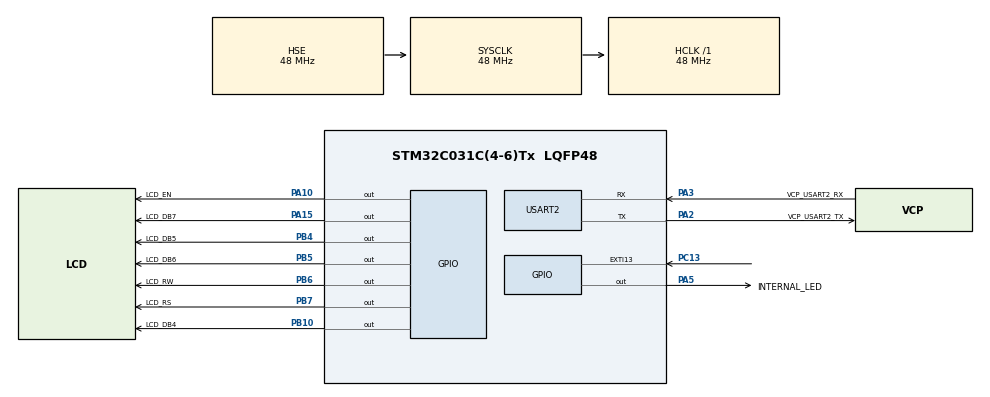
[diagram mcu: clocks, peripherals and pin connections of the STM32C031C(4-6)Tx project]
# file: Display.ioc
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Mcu.Family=STM32C0
Mcu.Name=STM32C031C(4-6)Tx
Mcu.Package=LQFP48
PA10.GPIO_Label=LCD_EN
PA10.GPIO_Speed=GPIO_SPEED_FREQ_HIGH
PA10.Signal=GPIO_Output
PA13.GPIO_Label=DEBUG_SWDIO
PA13.Signal=DEBUG_SWDIO
PA14-BOOT0.GPIO_Label=DEBUG_SWCLK
PA14-BOOT0.Signal=DEBUG_SWCLK
PA15.GPIO_Label=LCD_DB7
PA15.GPIO_Speed=GPIO_SPEED_FREQ_HIGH
PA15.Signal=GPIO_Output
PA2.GPIO_Label=VCP_USART2_TX
PA2.Mode=Asynchronous
PA2.Signal=USART2_TX
PA3.GPIO_Label=VCP_USART2_RX
PA3.Mode=Asynchronous
PA3.Signal=USART2_RX
PA5.GPIO_Label=INTERNAL_LED
PA5.Signal=GPIO_Output
PB10.GPIO_Label=LCD_DB4
PB10.GPIO_Speed=GPIO_SPEED_FREQ_HIGH
PB10.Signal=GPIO_Output
PB4.GPIO_Label=LCD_DB5
PB4.GPIO_Speed=GPIO_SPEED_FREQ_HIGH
PB4.Signal=GPIO_Output
PB5.GPIO_Label=LCD_DB6
PB5.GPIO_Speed=GPIO_SPEED_FREQ_HIGH
PB5.Signal=GPIO_Output
PB6.GPIO_Label=LCD_RW
PB6.GPIO_Speed=GPIO_SPEED_FREQ_HIGH
PB6.Signal=GPIO_Output
PB7.GPIO_Label=LCD_RS
PB7.GPIO_Speed=GPIO_SPEED_FREQ_HIGH
PB7.Signal=GPIO_Output
PC13.Signal=GPXTI13
PC14-OSCX_IN\ (PC14).GPIO_Label=RCC_OSCX_IN
PC14-OSCX_IN\ (PC14).Mode=LSE-External-Oscillator
PC14-OSCX_IN\ (PC14).Signal=RCC_OSCX_IN
PC15-OSCX_OUT\ (PC15).GPIO_Label=RCC_OSCX_OUT
PC15-OSCX_OUT\ (PC15).Mode=LSE-External-Oscillator
PC15-OSCX_OUT\ (PC15).Signal=RCC_OSCX_OUT
PF0-OSC_IN\ (PF0).GPIO_Label=RCC_OSC_IN
PF0-OSC_IN\ (PF0).Mode=HSE-External-Oscillator
PF0-OSC_IN\ (PF0).Signal=RCC_OSC_IN
PF1-OSC_OUT\ (PF1).GPIO_Label=RCC_OSC_OUT
PF1-OSC_OUT\ (PF1).Mode=HSE-External-Oscillator
PF1-OSC_OUT\ (PF1).Signal=RCC_OSC_OUT
ProjectManager.HeapSize=0x200
ProjectManager.StackSize=0x400
ProjectManager.TargetToolchain=STM32CubeIDE
RCC.ADCFreq_Value=48000000
RCC.AHBFreq_Value=48000000
RCC.CortexFreq_Value=48000000
RCC.EXTERNAL_CLOCK_VALUE=12288000
RCC.HCLKFreq_Value=48000000
RCC.HSE_VALUE=48000000
RCC.HSISYSCLKDivider=RCC_HSI_DIV1
RCC.HSI_VALUE=48000000
RCC.SYSCLKFreq_VALUE=48000000
RCC.SYSCLKSource=RCC_SYSCLKSOURCE_HSE
USART2.VirtualMode-Asynchronous=VM_ASYNC
board=NUCLEO-C031C6

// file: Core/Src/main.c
/* USER CODE BEGIN Header */
/**
  ******************************************************************************
  * @file           : main.c
  * @brief          : Main program body
  ******************************************************************************
  */
/* USER CODE END Header */
#include "main.h"
#include "LCD_DRIVER.h"
/* USER CODE BEGIN Includes */
#include <stdio.h>
#include "string.h"
/* USER CODE END Includes */

UART_HandleTypeDef huart2;

/* USER CODE BEGIN PV */
// Variabile semaforo: 1 = il display si aggiorna, 0 = in pausa
volatile uint8_t lcd_running = 1;
/* USER CODE END PV */

void SystemClock_Config(void);
static void MX_GPIO_Init(void);
static void MX_USART2_UART_Init(void);

int main(void)
{

  /* MCU Configuration--------------------------------------------------------*/

  /* Reset of all peripherals, Initializes the Flash interface and the Systick. */
  HAL_Init();

  /* Configure the system clock */
  SystemClock_Config();

  /* Initialize all configured peripherals */
  MX_GPIO_Init();
  MX_USART2_UART_Init();
  /* USER CODE BEGIN 2 */
    LCD_Init();

    // Variabili richieste prima del ciclo while
    uint8_t i = 0;
    char buff[20]; // Aumentato a 20 come nell'immagine per far spazio a \r\n
    /* USER CODE END 2 */

    /* Infinite loop */
    while (1)
    {

      /* USER CODE BEGIN 3 */

      // Se il semaforo è verde (1), aggiorna il display e invia via UART
      if (lcd_running == 1)
      {
          LCD_Send_Byte(0x01, 0); // lcdSendCmd(0x01) -> Pulisce il display

          // Stampa sulla prima riga dell'LCD
          sprintf(buff, "Char %4d -> ", i);
          LCD_Set_Cursor(0, 0);
          LCD_Print(buff);
          LCD_Send_Byte(i, 1);    // Invia il singolo carattere ASCII su LCD

          // Stampa sulla seconda riga dell'LCD (in Esadecimale)
          sprintf(buff, "Char 0x%02X -> %c", i, i);
          LCD_Set_Cursor(1, 0);
          LCD_Print(buff);

          // --- NUOVA PARTE INSERITA DALL'IMMAGINE: INVIO SU PuTTY (UART2) ---
          sprintf(buff, "Char %4d -> %c\r\n", i, i);
          HAL_UART_Transmit(&huart2, (uint8_t*)buff, strlen(buff), 1000);

          sprintf(buff, "Char 0x%02X -> %c\r\n", i, i);
          HAL_UART_Transmit(&huart2, (uint8_t*)buff, strlen(buff), 1000);
          // ------------------------------------------------------------------

          i += 1; // Passa al carattere successivo
      }

      // Aspetta in ogni caso 750ms prima di ripetere il ciclo
      HAL_Delay(750);

    }
    /* USER CODE END 3 */

}

void SystemClock_Config(void)
{
  RCC_OscInitTypeDef RCC_OscInitStruct = {0};
  RCC_ClkInitTypeDef RCC_ClkInitStruct = {0};

  __HAL_FLASH_SET_LATENCY(FLASH_LATENCY_1);

  /** Initializes the RCC Oscillators according to the specified parameters
  * in the RCC_OscInitTypeDef structure.
  */
  RCC_OscInitStruct.OscillatorType = RCC_OSCILLATORTYPE_HSE;
  RCC_OscInitStruct.HSEState = RCC_HSE_ON;
  if (HAL_RCC_OscConfig(&RCC_OscInitStruct) != HAL_OK)
  {
    Error_Handler();
  }

  /** Initializes the CPU, AHB and APB buses clocks
  */
  RCC_ClkInitStruct.ClockType = RCC_CLOCKTYPE_HCLK|RCC_CLOCKTYPE_SYSCLK
                              |RCC_CLOCKTYPE_PCLK1;
  RCC_ClkInitStruct.SYSCLKSource = RCC_SYSCLKSOURCE_HSE;
  RCC_ClkInitStruct.SYSCLKDivider = RCC_SYSCLK_DIV1;
  RCC_ClkInitStruct.AHBCLKDivider = RCC_HCLK_DIV1;
  RCC_ClkInitStruct.APB1CLKDivider = RCC_APB1_DIV1;

  if (HAL_RCC_ClockConfig(&RCC_ClkInitStruct, FLASH_LATENCY_1) != HAL_OK)
  {
    Error_Handler();
  }
}

static void MX_USART2_UART_Init(void)
{

  huart2.Instance = USART2;
  huart2.Init.BaudRate = 115200;
  huart2.Init.WordLength = UART_WORDLENGTH_8B;
  huart2.Init.StopBits = UART_STOPBITS_1;
  huart2.Init.Parity = UART_PARITY_NONE;
  huart2.Init.Mode = UART_MODE_TX_RX;
  huart2.Init.HwFlowCtl = UART_HWCONTROL_NONE;
  huart2.Init.OverSampling = UART_OVERSAMPLING_16;
  huart2.Init.OneBitSampling = UART_ONE_BIT_SAMPLE_DISABLE;
  huart2.Init.ClockPrescaler = UART_PRESCALER_DIV1;
  huart2.AdvancedInit.AdvFeatureInit = UART_ADVFEATURE_NO_INIT;
  if (HAL_UART_Init(&huart2) != HAL_OK)
  {
    Error_Handler();
  }

}

static void MX_GPIO_Init(void)
{
  LL_EXTI_InitTypeDef EXTI_InitStruct = {0};
  LL_GPIO_InitTypeDef GPIO_InitStruct = {0};

  /* GPIO Ports Clock Enable */
  LL_IOP_GRP1_EnableClock(LL_IOP_GRP1_PERIPH_GPIOC);
  LL_IOP_GRP1_EnableClock(LL_IOP_GRP1_PERIPH_GPIOF);
  LL_IOP_GRP1_EnableClock(LL_IOP_GRP1_PERIPH_GPIOA);
  LL_IOP_GRP1_EnableClock(LL_IOP_GRP1_PERIPH_GPIOB);

  /**/
  LL_GPIO_ResetOutputPin(INTERNAL_LED_GPIO_Port, INTERNAL_LED_Pin);

  /**/
  LL_GPIO_ResetOutputPin(LCD_DB4_GPIO_Port, LCD_DB4_Pin);

  /**/
  LL_GPIO_ResetOutputPin(LCD_EN_GPIO_Port, LCD_EN_Pin);

  /**/
  LL_GPIO_ResetOutputPin(LCD_DB7_GPIO_Port, LCD_DB7_Pin);

  /**/
  LL_GPIO_ResetOutputPin(LCD_DB5_GPIO_Port, LCD_DB5_Pin);

  /**/
  LL_GPIO_ResetOutputPin(LCD_DB6_GPIO_Port, LCD_DB6_Pin);

  /**/
  LL_GPIO_ResetOutputPin(LCD_RW_GPIO_Port, LCD_RW_Pin);

  /**/
  LL_GPIO_ResetOutputPin(LCD_RS_GPIO_Port, LCD_RS_Pin);

  /**/
  EXTI_InitStruct.Line_0_31 = LL_EXTI_LINE_13;
  EXTI_InitStruct.LineCommand = ENABLE;
  EXTI_InitStruct.Mode = LL_EXTI_MODE_IT;
  EXTI_InitStruct.Trigger = LL_EXTI_TRIGGER_RISING;
  LL_EXTI_Init(&EXTI_InitStruct);

  /**/
  LL_GPIO_SetPinMode(GPIOC, LL_GPIO_PIN_13, LL_GPIO_MODE_INPUT);

  /**/
  LL_GPIO_SetPinPull(GPIOC, LL_GPIO_PIN_13, LL_GPIO_PULL_NO);

  /**/
  LL_EXTI_SetEXTISource(LL_EXTI_CONFIG_PORTC, LL_EXTI_CONFIG_LINE13);

  /**/
  GPIO_InitStruct.Pin = INTERNAL_LED_Pin;
  GPIO_InitStruct.Mode = LL_GPIO_MODE_OUTPUT;
  GPIO_InitStruct.Speed = LL_GPIO_SPEED_FREQ_LOW;
  GPIO_InitStruct.OutputType = LL_GPIO_OUTPUT_PUSHPULL;
  GPIO_InitStruct.Pull = LL_GPIO_PULL_NO;
  LL_GPIO_Init(INTERNAL_LED_GPIO_Port, &GPIO_InitStruct);

  /**/
  GPIO_InitStruct.Pin = LCD_DB4_Pin;
  GPIO_InitStruct.Mode = LL_GPIO_MODE_OUTPUT;
  GPIO_InitStruct.Speed = LL_GPIO_SPEED_FREQ_HIGH;
  GPIO_InitStruct.OutputType = LL_GPIO_OUTPUT_PUSHPULL;
  GPIO_InitStruct.Pull = LL_GPIO_PULL_NO;
  LL_GPIO_Init(LCD_DB4_GPIO_Port, &GPIO_InitStruct);

  /**/
  GPIO_InitStruct.Pin = LCD_EN_Pin;
  GPIO_InitStruct.Mode = LL_GPIO_MODE_OUTPUT;
  GPIO_InitStruct.Speed = LL_GPIO_SPEED_FREQ_HIGH;
  GPIO_InitStruct.OutputType = LL_GPIO_OUTPUT_PUSHPULL;
  GPIO_InitStruct.Pull = LL_GPIO_PULL_NO;
  LL_GPIO_Init(LCD_EN_GPIO_Port, &GPIO_InitStruct);

  /**/
  GPIO_InitStruct.Pin = LCD_DB7_Pin;
  GPIO_InitStruct.Mode = LL_GPIO_MODE_OUTPUT;
  GPIO_InitStruct.Speed = LL_GPIO_SPEED_FREQ_HIGH;
  GPIO_InitStruct.OutputType = LL_GPIO_OUTPUT_PUSHPULL;
  GPIO_InitStruct.Pull = LL_GPIO_PULL_NO;
  LL_GPIO_Init(LCD_DB7_GPIO_Port, &GPIO_InitStruct);

  /**/
  GPIO_InitStruct.Pin = LCD_DB5_Pin;
  GPIO_InitStruct.Mode = LL_GPIO_MODE_OUTPUT;
  GPIO_InitStruct.Speed = LL_GPIO_SPEED_FREQ_HIGH;
  GPIO_InitStruct.OutputType = LL_GPIO_OUTPUT_PUSHPULL;
  GPIO_InitStruct.Pull = LL_GPIO_PULL_NO;
  LL_GPIO_Init(LCD_DB5_GPIO_Port, &GPIO_InitStruct);

  /**/
  GPIO_InitStruct.Pin = LCD_DB6_Pin;
  GPIO_InitStruct.Mode = LL_GPIO_MODE_OUTPUT;
  GPIO_InitStruct.Speed = LL_GPIO_SPEED_FREQ_HIGH;
  GPIO_InitStruct.OutputType = LL_GPIO_OUTPUT_PUSHPULL;
  GPIO_InitStruct.Pull = LL_GPIO_PULL_NO;
  LL_GPIO_Init(LCD_DB6_GPIO_Port, &GPIO_InitStruct);

  /**/
  GPIO_InitStruct.Pin = LCD_RW_Pin;
  GPIO_InitStruct.Mode = LL_GPIO_MODE_OUTPUT;
  GPIO_InitStruct.Speed = LL_GPIO_SPEED_FREQ_HIGH;
  GPIO_InitStruct.OutputType = LL_GPIO_OUTPUT_PUSHPULL;
  GPIO_InitStruct.Pull = LL_GPIO_PULL_NO;
  LL_GPIO_Init(LCD_RW_GPIO_Port, &GPIO_InitStruct);

  /**/
  GPIO_InitStruct.Pin = LCD_RS_Pin;
  GPIO_InitStruct.Mode = LL_GPIO_MODE_OUTPUT;
  GPIO_InitStruct.Speed = LL_GPIO_SPEED_FREQ_HIGH;
  GPIO_InitStruct.OutputType = LL_GPIO_OUTPUT_PUSHPULL;
  GPIO_InitStruct.Pull = LL_GPIO_PULL_NO;
  LL_GPIO_Init(LCD_RS_GPIO_Port, &GPIO_InitStruct);

  /* USER CODE BEGIN MX_GPIO_Init_2 */
    NVIC_SetPriority(EXTI4_15_IRQn, 0); // Imposta la priorità (0 = massima)
    NVIC_EnableIRQ(EXTI4_15_IRQn);      // Abilita l'interrupt
  /* USER CODE END MX_GPIO_Init_2 */
}

/* USER CODE BEGIN 4 */

/**
  * @brief Questa funzione gestisce gli interrupt delle linee EXTI da 4 a 15.
  */
void EXTI4_15_IRQHandler(void)
{
  // Verifica se l'interrupt è stato generato dalla linea 13 sul fronte di salita (RISING)
  if (LL_EXTI_IsActiveRisingFlag_0_31(LL_EXTI_LINE_13) != RESET)
  {
    // 1. Pulisce la flag dell'interrupt RISING (FONDAMENTALE)
    LL_EXTI_ClearRisingFlag_0_31(LL_EXTI_LINE_13);

    // 2. Controllo anti-rimbalzo (Debouncing)
    // Memorizza l'ultimo momento in cui hai premuto il tasto
    static uint32_t ultimo_istante_pressione = 0;
    uint32_t istante_attuale = HAL_GetTick(); // Prende il tempo in millisecondi

    // Se sono passati almeno 200 millisecondi dall'ultima pressione vera...
    if ((istante_attuale - ultimo_istante_pressione) > 200)
    {
        // 3. Inverti lo stato di esecuzione (se era 1 diventa 0, se 0 diventa 1)
        lcd_running = !lcd_running;

        // 4. Inverti il LED per avere un feedback visivo immediato
        LL_GPIO_TogglePin(INTERNAL_LED_GPIO_Port, INTERNAL_LED_Pin);

        // Salva il tempo di questa pressione
        ultimo_istante_pressione = istante_attuale;
    }
  }
}

/* USER CODE END 4 */

void Error_Handler(void)
{
  __disable_irq();
  while (1)
  {
  }
}
